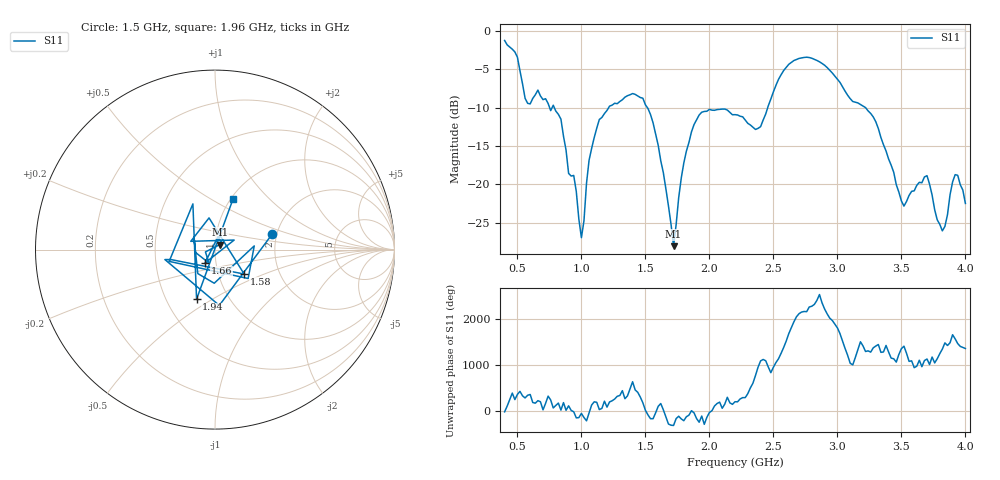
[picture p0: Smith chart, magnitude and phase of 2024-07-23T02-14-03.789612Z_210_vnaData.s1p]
!Created with skrf (http://scikit-rf.org).
# Hz S RI R 50.0
!freq ReS11 ImS11
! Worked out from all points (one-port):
!   181 points, 400 MHz to 4 GHz, reference 50 ohm
!   lowest |S11| = -28.0 dB at 1.72 GHz (marker M1), VSWR 1.08, Z = 52.8 + j3 ohm
!   |S11| at or under -10 dB: 788 MHz to 1.213 GHz (425.3 MHz wide, 42.5 % of centre); 1.515 GHz to 2.456 GHz (940.7 MHz wide, 47.4 % of centre); 3.219 GHz to end of sweep (the widest 3 of 4)
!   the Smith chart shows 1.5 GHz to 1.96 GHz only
!   S11 on the Smith chart (normalised r, x): 1.5 GHz: 1.89, +0.36; 1.58 GHz: 1.33, -0.38; 1.66 GHz: 0.88, -0.13; 1.94 GHz: 0.71, -0.43; 1.96 GHz: 1.03, +0.63
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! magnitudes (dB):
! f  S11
! 400 MHz  -1.3
! 580 MHz  -9.4
! 660 MHz  -7.7
! 860 MHz  -13.7
! 940 MHz  -18.8
! 1 GHz  -26.9
! 1.06 GHz  -16.9
! 1.12 GHz  -12.7
! 1.3 GHz  -9.2
! 1.5 GHz  -9.6
! 1.58 GHz  -13.5
! 1.66 GHz  -20.6
! 1.72 GHz  -28.0
! 1.76 GHz  -21.7
! 1.86 GHz  -13.2
! 1.94 GHz  -10.6
! 1.96 GHz  -10.5
! 2.2 GHz  -10.9
! 2.4 GHz  -12.5
! 2.66 GHz  -3.9
! 3.1 GHz  -8.8
! 3.28 GHz  -11.2
! 3.5 GHz  -22.2
! 3.56 GHz  -21.4
! 3.7 GHz  -18.9
! 3.82 GHz  -26.0
! 3.92 GHz  -18.7
! 4 GHz  -22.5
